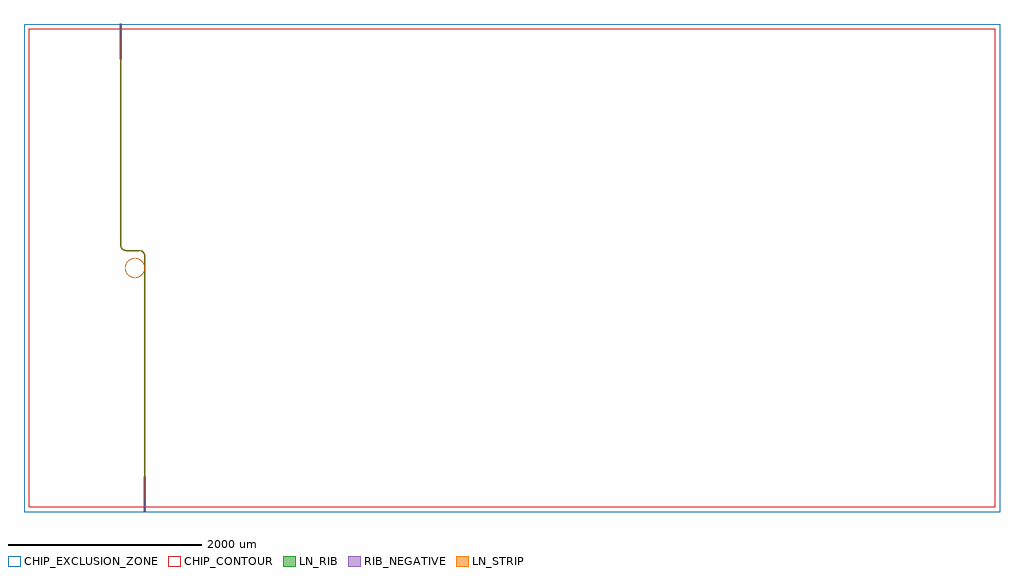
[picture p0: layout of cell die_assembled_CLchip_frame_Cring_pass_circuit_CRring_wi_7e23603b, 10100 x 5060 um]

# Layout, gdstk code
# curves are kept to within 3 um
import gdstk
lib = gdstk.Library(unit=1e-6, precision=1e-09)
def R(c, l, rs):  # rectangles x0, y0, x1, y1
    for r in rs: c.add(gdstk.rectangle(r[:2], r[2:], *l))
def P(c, l, *ps):  # polygons
    for p in ps: c.add(gdstk.Polygon(p, *l))
LN_STRIP = (2, 0)
LN_RIB = (3, 0)
RIB_NEGATIVE = (3, 1)
CHIP_CONTOUR = (6, 0)
CHIP_EXCLUSION_ZONE = (6, 1)

chip_frame = lib.new_cell('chip_frame')
R(chip_frame, CHIP_CONTOUR, [(-5000,-2475,5000,2475)])
R(chip_frame, CHIP_EXCLUSION_ZONE, [(-5050,-2525,5050,2525)])

ring_pass_circuit_crring = lib.new_cell('ring_pass_circuit_CRring_with_coupler_Rring_gdsfactoryp_d6d18c7e')
P(ring_pass_circuit_crring, LN_STRIP, [(-3902.364,-101),(-3911.868,-100.527),(-3921.545,-99.111),(-3931.545,-96.613),(-3940.751,-93.312),(-3949.828,-89.012),(-3958.213,-83.978),(-3966.276,-77.99),(-3973.705,-71.231),(-3980.425,-63.767),(-3986.225,-55.893),(-3991.112,-47.728),(-3995.513,-38.407),(-3998.713,-29.445),(-4001.211,-19.445),(-4002.627,-9.768),(-4003.1,0.264),(-4002.601,10.031),(-4001.055,20.223),(-3998.557,29.951),(-3995.208,39.139),(-3990.861,48.193),(-3985.635,56.77),(-3979.584,64.786),(-3972.766,72.162),(-3965.043,78.989),(-3956.664,84.993),(-3947.481,90.231),(-3938.295,94.292),(-3930.278,96.99),(-3922.098,99),(-3902.359,99),(-3914.251,98.252),(-3920.396,97.295),(-3926.469,95.954),(-3937.82,92.331),(-3948.883,87.249),(-3954.489,84.003),(-3959.449,80.698),(-3968.92,73.049),(-3977.212,64.492),(-3984.559,54.786),(-3990.66,44.251),(-3995.422,33.047),(-3997.383,26.873),(-3998.828,21.09),(-4000.661,9.317),(-4001.059,-2.851),(-4000,-14.719),(-3997.453,-26.623),(-3993.465,-38.125),(-3988.223,-48.825),(-3981.579,-59.026),(-3973.733,-68.335),(-3964.805,-76.61),(-3954.928,-83.727),(-3944.252,-89.578),(-3933.185,-93.993),(-3921.414,-97.098),(-3909.351,-98.734),(-3897.178,-98.878),(-3885.079,-97.526),(-3873.486,-94.775),(-3862.307,-90.651),(-3856.924,-88.092),(-3851.259,-84.948),(-3845.812,-81.441),(-3841.013,-77.907),(-3832.096,-70.004),(-3827.157,-64.689),(-3822.621,-59.026),(-3818.373,-52.828),(-3814.851,-46.783),(-3811.659,-40.267),(-3808.865,-33.291),(-3806.747,-26.623),(-3805.053,-19.568),(-3803.848,-12.151),(-3803.222,-4.922),(-3803.127,2.332),(-3803.539,9.317),(-3804.486,16.51),(-3805.896,23.363),(-3807.945,30.593),(-3810.341,37.166),(-3813.195,43.554),(-3816.755,50.172),(-3820.659,56.288),(-3824.837,61.899),(-3829.578,67.391),(-3834.519,72.345),(-3839.797,76.937),(-3845.599,81.294),(-3853.275,86.123),(-3861.833,90.441),(-3870.523,93.829),(-3879.746,96.443),(-3887.638,97.938),(-3896.142,98.821),(-3922.098,99),(-3911.868,100.527),(-3901.836,101),(-3892.332,100.527),(-3882.655,99.111),(-3872.655,96.613),(-3863.449,93.312),(-3854.372,89.012),(-3845.987,83.978),(-3837.924,77.99),(-3830.495,71.231),(-3823.775,63.767),(-3817.975,55.893),(-3813.088,47.728),(-3808.687,38.407),(-3805.487,29.445),(-3802.989,19.445),(-3801.573,9.768),(-3801.1,-0.264),(-3801.573,-9.768),(-3802.989,-19.445),(-3805.487,-29.445),(-3808.788,-38.651),(-3813.088,-47.728),(-3818.122,-56.113),(-3824.11,-64.176),(-3830.869,-71.605),(-3838.333,-78.325),(-3846.207,-84.125),(-3854.372,-89.012),(-3863.693,-93.413),(-3872.655,-96.613),(-3882.655,-99.111),(-3892.332,-100.527)],
  [(-3800.125,-2400),(-3800.5,-2160),(-3800.5,106.872),(-3800.76,120.082),(-3801.108,124.998),(-3801.658,129.756),(-3802.386,134.081),(-3803.366,138.351),(-3804.545,142.29),(-3805.898,145.887),(-3807.391,149.149),(-3809.308,152.644),(-3811.485,155.983),(-3813.994,159.25),(-3816.658,162.214),(-3819.54,164.968),(-3822.729,167.575),(-3825.889,169.78),(-3829.319,171.811),(-3832.772,173.521),(-3838.719,175.785),(-3845.008,177.428),(-3851.958,178.568),(-3859.918,179.24),(-3871.123,179.496),(-3984.907,179.573),(-3991.742,179.854),(-3998.296,180.456),(-4004.142,181.379),(-4009.256,182.574),(-4013.628,183.952),(-4017.515,185.512),(-4021.157,187.31),(-4024.88,189.527),(-4028.304,191.955),(-4031.627,194.736),(-4034.621,197.677),(-4037.46,200.95),(-4039.872,204.218),(-4042.03,207.66),(-4043.978,211.378),(-4045.627,215.233),(-4046.938,219.06),(-4048.087,223.356),(-4048.982,227.844),(-4049.685,232.905),(-4050.319,241.608),(-4050.5,253.127),(-4050.5,2160),(-4050.125,2400),(-4049.875,2400),(-4049.5,2160),(-4049.5,253.128),(-4049.325,241.782),(-4048.72,233.28),(-4048.083,228.535),(-4047.231,224.1),(-4046.134,219.86),(-4044.693,215.59),(-4042.96,211.567),(-4041.163,208.159),(-4039.046,204.781),(-4036.512,201.367),(-4033.71,198.169),(-4030.658,195.209),(-4027.483,192.586),(-4023.999,190.148),(-4020.447,188.063),(-4016.742,186.263),(-4012.791,184.717),(-4008.607,183.434),(-4003.298,182.236),(-3997.91,181.416),(-3991.679,180.852),(-3984.618,180.567),(-3872.324,180.499),(-3860.268,180.259),(-3851.704,179.544),(-3844.671,178.379),(-3838.16,176.656),(-3832.115,174.321),(-3828.486,172.495),(-3824.894,170.325),(-3821.696,168.045),(-3818.574,165.446),(-3815.565,162.52),(-3813.052,159.681),(-3810.59,156.45),(-3808.312,152.925),(-3806.497,149.596),(-3804.871,146.022),(-3803.512,142.353),(-3802.297,138.215),(-3801.379,134.142),(-3800.612,129.496),(-3800.088,124.822),(-3799.741,119.732),(-3799.5,106.873),(-3799.5,-2160),(-3799.875,-2400)])
P(ring_pass_circuit_crring, LN_RIB, [(-3800.125,-2530),(-3802.825,-2160),(-3805,-2160),(-3805.297,120.622),(-3807.977,138.155),(-3814.47,152.383),(-3820.4,159.6),(-3827.617,165.53),(-3841.845,172.023),(-3863.65,174.887),(-3992.027,175.363),(-4008.22,177.662),(-4018.815,181.167),(-4033.995,190.817),(-4043.591,201.685),(-4050.186,214.581),(-4054.289,233.664),(-4055,2160),(-4052.825,2160),(-4050.125,2530),(-4047.175,2160),(-4045,2160),(-4044.422,235.539),(-4041.072,218.801),(-4033.687,205.052),(-4022.383,194.47),(-4008.155,187.977),(-3986.35,185.113),(-3857.973,184.637),(-3841.78,182.338),(-3831.185,178.833),(-3816.005,169.183),(-3804.44,155.217),(-3798.633,141.837),(-3795.363,122.027),(-3795,-2160),(-3797.175,-2160)])
R(ring_pass_circuit_crring, RIB_NEGATIVE, [(-3810,-2530,-3790,-2160), (-4060,2160,-4040,2530)])

die_assembled_clchip_fra = lib.new_cell('die_assembled_CLchip_frame_Cring_pass_circuit_CRring_wi_7e23603b')
die_assembled_clchip_fra.add(gdstk.Reference(chip_frame, (0,0)))
die_assembled_clchip_fra.add(gdstk.Reference(ring_pass_circuit_crring, (0,0)))

lib.write_gds('die_assembled_CLchip_frame_Cring_pass_circuit_CRring_wi_7e23603b.gds')
